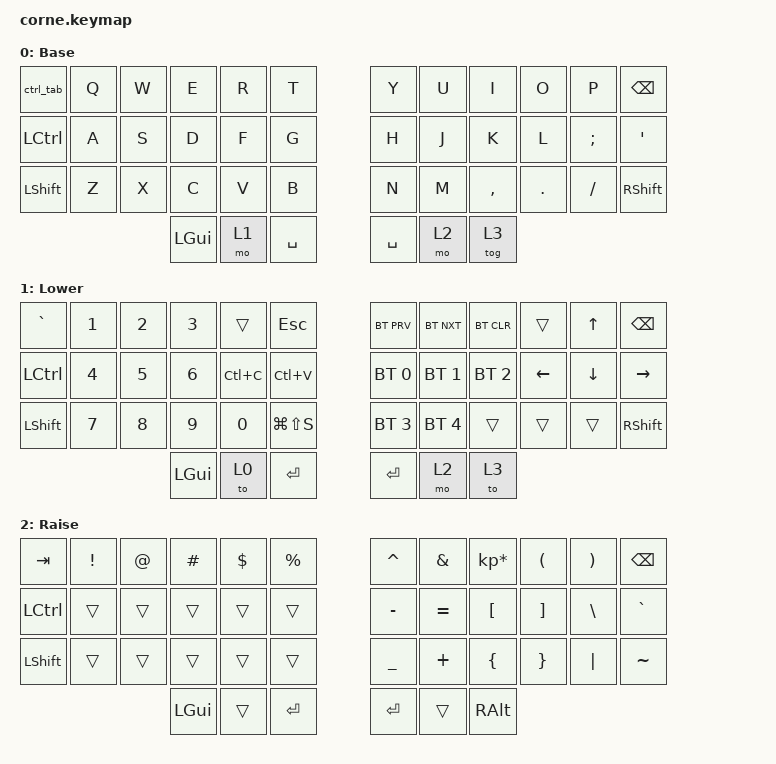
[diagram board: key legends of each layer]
/*
 * Copyright (c) 2020 The ZMK Contributors
 *
 * SPDX-License-Identifier: MIT
 */

#include <behaviors.dtsi>
#include <dt-bindings/zmk/bt.h>
#include <dt-bindings/zmk/keys.h>

/ {
    macros {
        alt_tab: alt_tab {
            compatible = "zmk,behavior-macro";
            #binding-cells = <0>;
            bindings = <&kp LA(TAB)>;
            label = "ALT_TAB";
        };
    };

    behaviors {
        taptap: taptap {
            compatible = "zmk,behavior-tap-dance";
            label = "TAPTAP";
            #binding-cells = <0>;
            bindings = <&kp BACKSPACE>, <&kp LC(BACKSPACE)>;

            tapping-term-ms = <100>;
        };

        // Shift + key = Escape, otherwise Tab
        tab_esc: tab_esc {
            compatible = "zmk,behavior-mod-morph";
            label = "TAB_ESC";
            #binding-cells = <0>;
            bindings = <&kp TAB>, <&kp ESCAPE>;
            mods = <(MOD_LSFT|MOD_RSFT)>;
        };

        // Ctrl + key = ` (grave), otherwise falls back to tab_esc
        ctrl_tab: ctrl_tab {
            compatible = "zmk,behavior-mod-morph";
            label = "CTRL_TAB";
            #binding-cells = <0>;
            bindings = <&tab_esc>, <&kp GRAVE>;
            mods = <(MOD_LCTL|MOD_RCTL)>;
        };
    };

    combos {
        compatible = "zmk,combos";

        alttabcombo {
            bindings = <&kp LA(TAB)>;
            key-positions = <38 0>;
        };

        whole-word-backspace {
            bindings = <&kp LC(BACKSPACE)>;
            key-positions = <39 11>;
        };
    };

    keymap {
        compatible = "zmk,keymap";

        default_layer {
            display-name = "Base";
            bindings = <
&ctrl_tab  &kp Q  &kp W  &kp E     &kp R  &kp T        &kp Y      &kp U  &kp I      &kp O    &kp P     &kp BACKSPACE
&kp LCTRL  &kp A  &kp S  &kp D     &kp F  &kp G        &kp H      &kp J  &kp K      &kp L    &kp SEMI  &kp SQT
&kp LSHFT  &kp Z  &kp X  &kp C     &kp V  &kp B        &kp N      &kp M  &kp COMMA  &kp DOT  &kp FSLH  &kp RIGHT_SHIFT
                         &kp LGUI  &mo 1  &kp SPACE    &kp SPACE  &mo 2  &tog 3
            >;
        };

        lower_layer {
            display-name = "Lower";
            bindings = <
&kp GRAVE         &kp N1        &kp N2        &kp N3        &trans     &kp ESCAPE       &bt BT_PRV    &bt BT_NXT    &bt BT_CLR    &trans          &kp UP    &kp BSPC
&kp LEFT_CONTROL  &kp NUMBER_4  &kp NUMBER_5  &kp NUMBER_6  &kp LC(C)  &kp LC(V)        &bt BT_SEL 0  &bt BT_SEL 1  &bt BT_SEL 2  &kp LEFT_ARROW  &kp DOWN  &kp RIGHT_ARROW
&kp LSHFT         &kp N7        &kp NUMBER_8  &kp N9        &kp N0     &kp LG(LS(S))    &bt BT_SEL 3  &bt BT_SEL 4  &trans        &trans          &trans    &kp RIGHT_SHIFT
                                              &kp LGUI      &to 0      &kp ENTER        &kp RET       &mo 2         &to 3
            >;
        };

        raise_layer {
            display-name = "Raise";
            bindings = <
&kp TAB    &kp EXCL  &kp AT  &kp HASH  &kp DLLR  &kp PRCNT    &kp CARET  &kp AMPS   &kp KP_MULTIPLY  &kp LPAR  &kp RPAR  &kp BSPC
&kp LCTRL  &trans    &trans  &trans    &trans    &trans       &kp MINUS  &kp EQUAL  &kp LBKT         &kp RBKT  &kp BSLH  &kp GRAVE
&kp LSHFT  &trans    &trans  &trans    &trans    &trans       &kp UNDER  &kp PLUS   &kp LBRC         &kp RBRC  &kp PIPE  &kp TILDE
                             &kp LGUI  &trans    &kp RET      &kp RET    &trans     &kp RALT
            >;
        };

        layer_7 {
            status = "reserved";
            display-name = "Raise";
            bindings = <
&kp TAB    &kp NUMBER_1  &kp NUMBER_2  &kp NUMBER_3  &kp NUMBER_4  &kp N5       &trans   &trans  &trans    &trans  &trans  &kp BSPC
&kp LCTRL  &kp Q         &kp W         &kp E         &kp R         &kp T        &trans   &trans  &trans    &trans  &trans  &trans
&kp LSHFT  &kp A         &kp S         &kp D         &kp F         &kp G        &trans   &trans  &trans    &trans  &trans  &trans
                                       &kp LGUI      &mo 1         &kp SPACE    &kp RET  &to 0   &kp RALT
            >;
        };
    };
};
